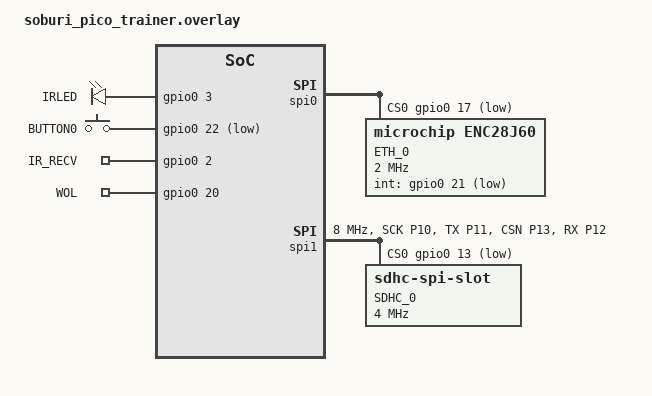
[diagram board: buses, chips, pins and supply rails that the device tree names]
/ {
	leds {
		irled0: irled_0 {
			gpios = <&gpio0 3 (GPIO_ACTIVE_HIGH|GPIO_PULL_DOWN)>;
			label = "IRLED";
		};
	};

	gpio_keys {
		compatible = "gpio-keys";
		button0: button_0 {
			label = "BUTTON0";
			gpios = <&gpio0 22 (GPIO_ACTIVE_LOW|GPIO_PULL_UP)>;
		};
		irrecv0: irrecv_0 {
			label = "IR_RECV";
			gpios = <&gpio0 2 GPIO_ACTIVE_HIGH>;
		};
		wol0: wol_0 {
			label = "WOL";
			gpios = <&gpio0 20 GPIO_ACTIVE_HIGH>;
		};
	};

	chosen {
		/* zephyr,display = &ssd1306; */
	};

	aliases {
		irled0 = &irled0;
		irrecv0 = &irrecv0;
		wol0 = &wol0;
		sw0 = &button0;
		/*accel0 = &adxl345; */
	};
};

&pinctrl {
	spi1_default: spi1_default {
		group1 {
			pinmux = <SPI1_SCK_P10>, <SPI1_TX_P11>, <SPI1_CSN_P13>;
		};
		group2 {
			pinmux = <SPI1_RX_P12>;
			input-enable;
		};
	};
};

&spi0 {
	status = "okay";

	cs-gpios = <&gpio0 17 GPIO_ACTIVE_LOW>;

	eth0: enc28j60@0 {
		compatible = "microchip,enc28j60";
		reg = <0x0>;
		local-mac-address = [00 00 00 01 02 03];
		/* Errata B7/1 specifies min 8Mhz, 20MHz max according to RM */
		spi-max-frequency = <2000000>;
		int-gpios = <&gpio0 21 GPIO_ACTIVE_LOW>;
		label = "ETH_0";
	};
};


&spi1 {
	clock-frequency = <DT_FREQ_M(8)>;
	status = "okay";
	cs-gpios = <&gpio0 13 GPIO_ACTIVE_LOW>;
	pinctrl-0 = <&spi1_default>;
	pinctrl-names = "default";

	sdhc0: sdhc@0 {
		compatible = "zephyr,sdhc-spi-slot";
		reg = <0>;
		status = "okay";
		label = "SDHC_0";
		spi-max-frequency = <4000000>;
		mmc {
			compatible = "zephyr,sdmmc-disk";
			status = "okay";
			label = "SDMMC_0";
		};
	};
};

/*
&i2c0 {
	status = "okay";

	ssd1306: ssd1306@3c {
		compatible = "solomon,ssd1306fb";
		reg = <0x3c>;
		label = "SSD1306";
		width = <128>;
		height = <64>;
		segment-offset = <0>;
		page-offset = <0>;
		display-offset = <0>;
		multiplex-ratio = <63>;
		segment-remap;
		com-invdir;
		prechargep = <0x22>;
	};
};

&i2c1 {
	status = "okay";
	adxl345: adxl345@53 {
		compatible = "adi,adxl345";
		reg = <0x53>;
		label = "ADXL345_I2C";
	};
};
*/
